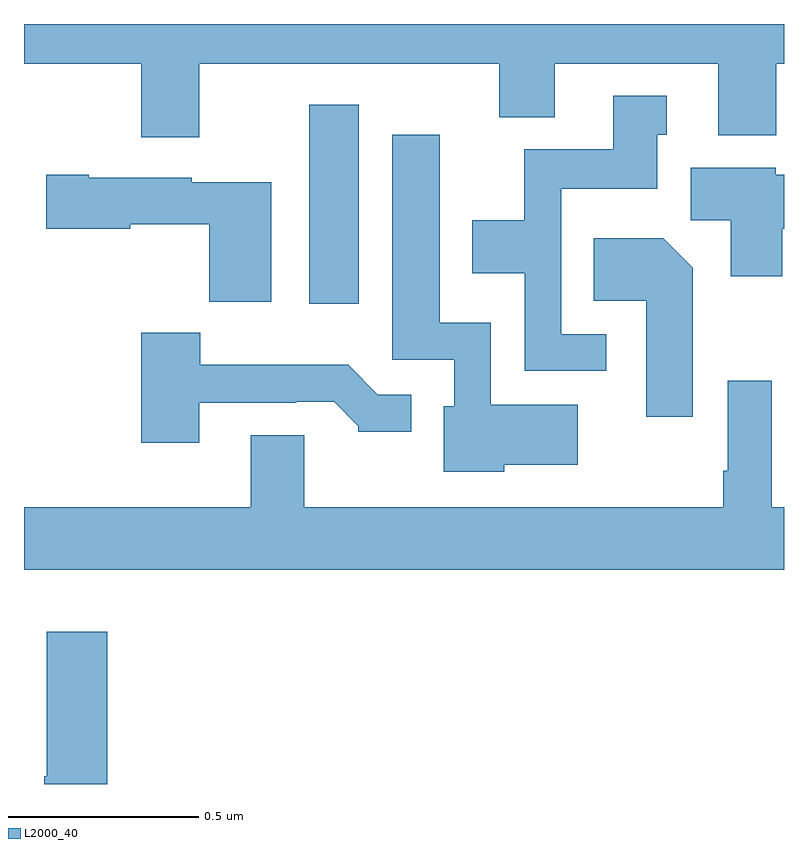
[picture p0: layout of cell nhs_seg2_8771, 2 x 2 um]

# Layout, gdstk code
import gdstk
lib = gdstk.Library(unit=1e-6, precision=1e-09)
def R(c, l, rs):  # rectangles x0, y0, x1, y1
    for r in rs: c.add(gdstk.rectangle(r[:2], r[2:], *l))
def P(c, l, *ps):  # polygons
    for p in ps: c.add(gdstk.Polygon(p, *l))
L2000_40 = (2000, 40)

nhs_seg2_8771 = lib.new_cell('nhs_seg2_8771')
R(nhs_seg2_8771, L2000_40, [(221.75,587.064,221.881,587.587)])
P(nhs_seg2_8771, L2000_40, [(221,587.696),(221.309,587.696),(221.309,587.502),(221.461,587.502),(221.461,587.696),(222.25,587.696),(222.25,587.555),(222.397,587.555),(222.397,587.696),(222.827,587.696),(222.827,587.507),(222.98,587.507),(222.98,587.696),(223,587.696),(223,587.8),(221,587.8)],
  [(222.532,586.983),(222.414,586.983),(222.414,587.366),(222.667,587.366),(222.667,587.508),(222.691,587.508),(222.691,587.611),(222.551,587.611),(222.551,587.47),(222.316,587.47),(222.316,587.284),(222.179,587.284),(222.179,587.144),(222.318,587.144),(222.318,586.887),(222.532,586.887)],
  [(222.264,586.64),(222.457,586.64),(222.457,586.798),(222.228,586.798),(222.228,587.014),(222.094,587.014),(222.094,587.509),(221.969,587.509),(221.969,586.917),(222.132,586.917),(222.132,586.794),(222.104,586.794),(222.104,586.622),(222.264,586.622)],
  [(222.995,587.261),(223,587.261),(223,587.403),(222.978,587.403),(222.978,587.422),(222.755,587.422),(222.755,587.284),(222.86,587.284),(222.86,587.136),(222.995,587.136)],
  [(221.65,587.383),(221.442,587.383),(221.442,587.395),(221.17,587.395),(221.17,587.403),(221.058,587.403),(221.058,587.261),(221.28,587.261),(221.28,587.273),(221.488,587.273),(221.488,587.069),(221.65,587.069)],
  [(222.76,587.158),(222.682,587.236),(222.499,587.236),(222.499,587.072),(222.638,587.072),(222.638,586.767),(222.76,586.767)],
  [(221.461,586.803),(221.717,586.803),(221.717,586.806),(221.816,586.806),(221.88,586.742),(221.88,586.727),(222.019,586.727),(222.019,586.824),(221.931,586.824),(221.853,586.903),(221.464,586.903),(221.464,586.987),(221.309,586.987),(221.309,586.698),(221.461,586.698)],
  [(223,586.528),(222.968,586.528),(222.968,586.861),(222.852,586.861),(222.852,586.624),(222.84,586.624),(222.84,586.528),(221.737,586.528),(221.737,586.718),(221.597,586.718),(221.597,586.528),(221,586.528),(221,586.364),(223,586.364)],
  [(221.219,586.201),(221.06,586.201),(221.06,585.821),(221.053,585.821),(221.053,585.8),(221.219,585.8)])

lib.write_gds('nhs_seg2_8771.gds')
